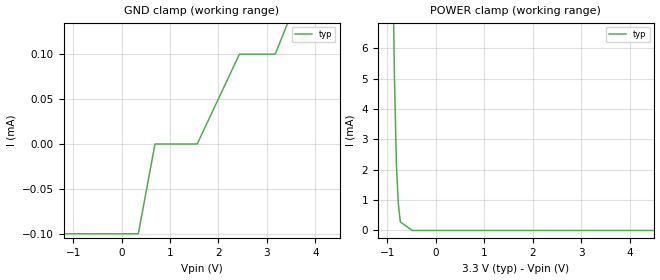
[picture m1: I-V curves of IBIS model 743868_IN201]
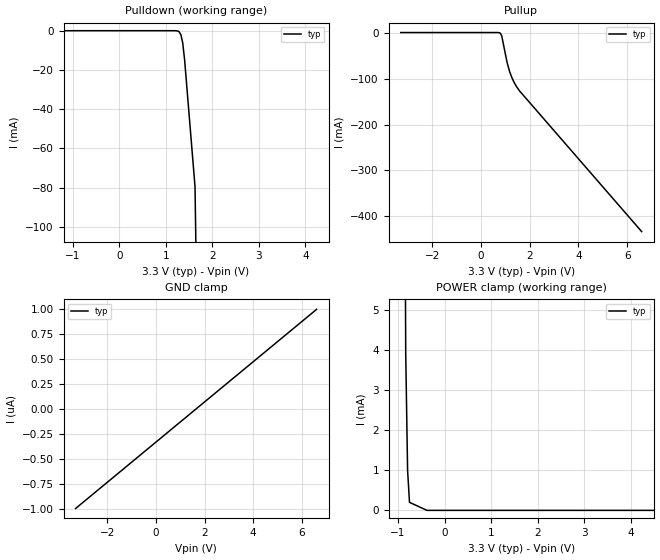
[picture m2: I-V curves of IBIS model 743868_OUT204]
| YOU ARE ONLY AUTHORIZED TO USE THIS SOFTWARE
| ACCORDING TO LICENSOR'S LICENSE RESTRICTIONS.
[IBIS Ver] 3.1
[File Name] nbsg14ba_33v.ibs
[File Rev] 0.1
[Source] Derived from NBSG16BA_33v Measured and created by ICX Technology
[Date] 1/14/2002
[Copyright]
| (C) COPYRIGHT 1993-2001
| MENTOR GRAPHICS CORPORATION
| ICX STANDARD LIBRARY, ICX PROJECT MODELING,
| ICX CUSTOM MODELING, ICX VENDOR MODEL
| ALL RIGHTS RESERVED.
| THE FOLLOWING ARE TRADEMARKS OR SERVICE MARKS OF
| MENTOR GRAPHICS CORPORATION:ICX (R), ICX STANDARD
| LIBRARY(R), ICX PROJECT MODELING(R), ICX CUSTOM
| MODELING(R), qualityIBIS(TM), MODELVIEWER(TM),
| AND MODELEDITOR(TM)
| ALL COPIES OF SOFTWARE, INCLUDING BUT NOT LIMITED TO
| ANY MODIFICATIONS, ENHANCEMENTS OR DERIVATIVE WORKS,
| MUST CONTAIN ALL MENTOR GRAPHICS CORPORATION'S
| NOTICES AND LEGENDS, INCLUDING THOSE EMBEDDED IN
| SOFTWARE AND THOSE AFFIXED TO SOFTWARE MEDIUM
| AND CONTAINER, AS RECEIVED FROM MENTOR GRAPHICS
| CORPORATION.
|  ZAP Model Builder 3.2
[Component] NBSG14BA_33v
[Manufacturer] OnSemico
[Package]
| variable   typ   min   max
R_pkg  .154ohms NA NA
L_pkg  1.727nH NA NA
C_pkg  1.114pF NA NA
[Pin] signal_name  model_name  R_pin  L_pin C_pin
A1 VTCLK NC .144 1.675n 1.08p
A2 _Q3 743868_OUT304 .149 1.726n 1.113p
A3 Q3 743868_OUT204 .149 1.726n 1.113p
A4 _Q2 743868_OUT304 .149 1.726n 1.113p
B1 CLK 743868_IN201 .149 1.726n 1.113p
B2 VEE POWER .163 1.78n 1.148p
B3 VCC POWER .144 1.675n 1.08p
B4 Q2 743868_OUT204 .149 1.726n 1.113p
C1 _CLK 743868_IN301 .149 1.726n 1.113p
C2 VEE POWER .163 1.78n 1.148p
C3 VCC POWER .144 1.675n 1.08p
C4 _Q1 743868_OUT304 .149 1.726n 1.113p
D1 _VTCLK NC .144 1.675n 1.08p
D2 Q0  743868_OUT204 .149 1.726n 1.113p
D3 _Q0 743868_OUT304 .149 1.726n 1.113p
D4 Q1 743868_OUT204 .149 1.726n 1.113p
[Diff Pin] inv_pin vdiff tdelay_typ tdelay_min tdelay_max
B1 C1 150mv NA NA NA
A3 A2 NA 0.150ns NA NA
B4 A4 NA 0.150ns NA NA
D4 C4 NA 0.150ns NA NA
D2 D3 NA 0.150ns NA NA
| Models and submodels in the file (4): 743868_IN201 (Input_ECL), 743868_IN301 (Input_ECL), 743868_OUT204 (Output_ECL), 743868_OUT304 (Output_ECL)
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| (C) COPYRIGHT 1993-2001
| MENTOR GRAPHICS CORPORATION
| ICX STANDARD LIBRARY, ICX PROJECT MODELING,
| ICX CUSTOM MODELING, ICX VENDOR MODEL
| ALL RIGHTS RESERVED.
| THE FOLLOWING ARE TRADEMARKS OR SERVICE MARKS OF
| MENTOR GRAPHICS CORPORATION:ICX (R), ICX STANDARD
| LIBRARY(R), ICX PROJECT MODELING(R), ICX CUSTOM
| MODELING(R), qualityIBIS(TM), MODELVIEWER(TM),
| AND MODELEDITOR(TM)
| ALL COPIES OF SOFTWARE, INCLUDING BUT NOT LIMITED TO
| ANY MODIFICATIONS, ENHANCEMENTS OR DERIVATIVE WORKS,
| MUST CONTAIN ALL MENTOR GRAPHICS CORPORATION'S
| NOTICES AND LEGENDS, INCLUDING THOSE EMBEDDED IN
| SOFTWARE AND THOSE AFFIXED TO SOFTWARE MEDIUM
| AND CONTAINER, AS RECEIVED FROM MENTOR GRAPHICS
| CORPORATION.
| Model Application Version 1.89 2/18/99.
[Model] 743868_IN201
Model_type Input_ECL
Vinl = 1.800V
Vinh = 2.200V
C_comp 500.0fF NA NA
| variable typ   min   max
[Voltage Range] 3.300V NA NA
[GND Clamp Reference] 0.000V NA NA
[POWER Clamp Reference] 3.300V NA NA
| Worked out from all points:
|   POWER clamp passes 1 mA (typ) near -0.78 V on its own axis
[GND Clamp]
-3.3V     -100uA     NA         NA
344.5mV   -100uA     NA         NA
689mV     0A         NA         NA
1.56V     0A         NA         NA
2.432V    100uA      NA         NA
3.172V    100uA      NA         NA
6.6V      563.2uA    NA         NA
[POWER Clamp]
-3.3V     292mA      NA         NA
-855mV    5.067mA    NA         NA
-814mV    2.173mA    NA         NA
-774mV    878.1uA    NA         NA
-733mV    283.6uA    NA         NA
-488.7mV  0A         NA         NA
6.6V      0A         NA         NA
| (C) COPYRIGHT 1993-2001
| MENTOR GRAPHICS CORPORATION
| ICX STANDARD LIBRARY, ICX PROJECT MODELING,
| ICX CUSTOM MODELING, ICX VENDOR MODEL
| ALL RIGHTS RESERVED.
| THE FOLLOWING ARE TRADEMARKS OR SERVICE MARKS OF
| MENTOR GRAPHICS CORPORATION:ICX (R), ICX STANDARD
| LIBRARY(R), ICX PROJECT MODELING(R), ICX CUSTOM
| MODELING(R), qualityIBIS(TM), MODELVIEWER(TM),
| AND MODELEDITOR(TM)
| ALL COPIES OF SOFTWARE, INCLUDING BUT NOT LIMITED TO
| ANY MODIFICATIONS, ENHANCEMENTS OR DERIVATIVE WORKS,
| MUST CONTAIN ALL MENTOR GRAPHICS CORPORATION'S
| NOTICES AND LEGENDS, INCLUDING THOSE EMBEDDED IN
| SOFTWARE AND THOSE AFFIXED TO SOFTWARE MEDIUM
| AND CONTAINER, AS RECEIVED FROM MENTOR GRAPHICS
| CORPORATION.
| Model Application Version 1.89 2/18/99.
[Model] 743868_OUT204
Model_type Output_ECL
Vref=1.300V
Rref=50.00ohms
Cref=0.000F
Vmeas=2.160V
C_comp 500.0fF NA NA
| variable typ   min   max
[Voltage Range] 3.300V NA NA
[POWER Clamp Reference] 3.300V NA NA
[Pullup Reference] 3.300V NA NA
[Pulldown Reference] 3.300V NA NA
[GND Clamp Reference] 0.000V NA NA
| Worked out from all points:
|   POWER clamp passes 1 mA (typ) near -0.79 V on its own axis
[GND Clamp]
-3.3V     -1uA       NA         NA
6.6V      1uA        NA         NA
[Pulldown]
-3.3V     0A         NA         NA
1.202V    0A         NA         NA
1.263V    -200uA     NA         NA
1.283V    -500uA     NA         NA
1.324V    -2mA       NA         NA
1.364V    -6.3mA     NA         NA
1.405V    -15.1mA    NA         NA
1.628V    -79.5mA    NA         NA
6.6V      -7.979A    NA         NA
[Pullup]
-3.3V     0A         NA         NA
686mV     0A         NA         NA
746mV     -300uA     NA         NA
787mV     -1.3mA     NA         NA
848mV     -7.1mA     NA         NA
1.071V    -65.6mA    NA         NA
1.172V    -84.7mA    NA         NA
1.253V    -96.5mA    NA         NA
1.354V    -108.2mA   NA         NA
1.456V    -117.6mA   NA         NA
1.577V    -126.7mA   NA         NA
6.6V      -433mA     NA         NA
[POWER Clamp]
-3.3V     606.2mA    NA         NA
-834mV    3.9mA      NA         NA
-794mV    1mA        NA         NA
-753mV    200uA      NA         NA
-376.5mV  0A         NA         NA
6.6V      0A         NA         NA
[Ramp]
| variable typ min max
dV/dt_r 268.0m/38.78p NA NA
dV/dt_f 268.0m/31.06p NA NA
R_load = 50.00Ohms
